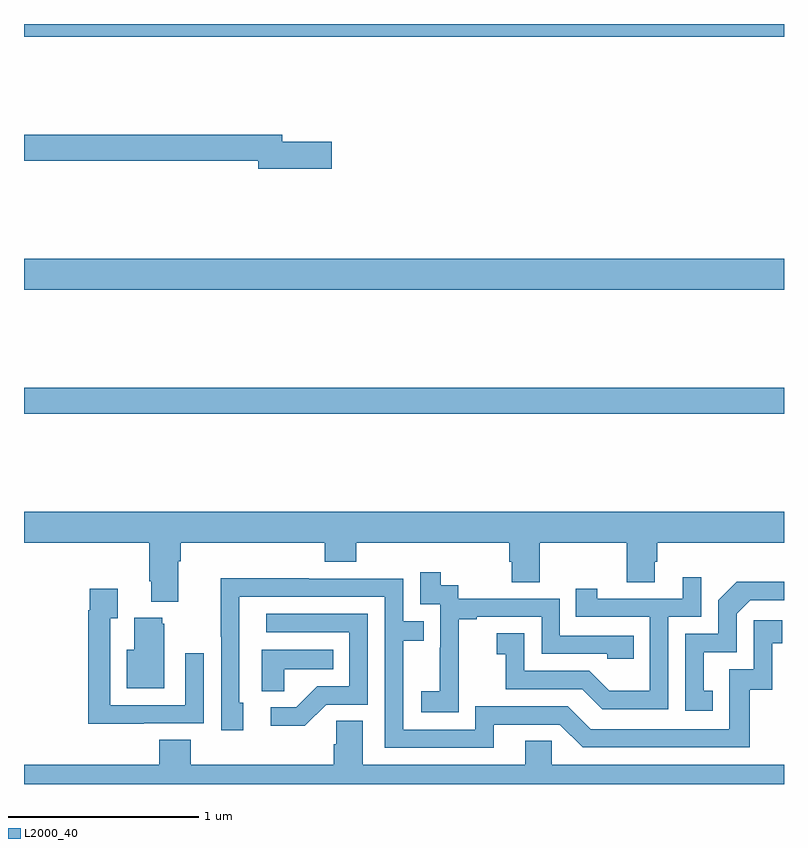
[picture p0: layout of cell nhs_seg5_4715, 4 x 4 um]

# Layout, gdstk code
import gdstk
lib = gdstk.Library(unit=1e-6, precision=1e-09)
def R(c, l, rs):  # rectangles x0, y0, x1, y1
    for r in rs: c.add(gdstk.rectangle(r[:2], r[2:], *l))
def P(c, l, *ps):  # polygons
    for p in ps: c.add(gdstk.Polygon(p, *l))
L2000_40 = (2000, 40)

nhs_seg5_4715 = lib.new_cell('nhs_seg5_4715')
R(nhs_seg5_4715, L2000_40, [(387,882.748,391,882.884), (387,883.4,391,883.564), (387,884.732,391,884.799)])
P(nhs_seg5_4715, L2000_40, [(388.621,884.18),(388.36,884.18),(388.36,884.216),(387,884.216),(387,884.08),(388.232,884.08),(388.232,884.038),(388.621,884.038)],
  [(387.811,881.972),(387.824,881.972),(387.824,882.068),(388.583,882.068),(388.583,881.969),(388.748,881.969),(388.748,882.068),(389.555,882.068),(389.555,881.97),(389.567,881.97),(389.567,881.86),(389.715,881.86),(389.715,882.068),(390.172,882.068),(390.172,881.86),(390.319,881.86),(390.319,881.97),(390.332,881.97),(390.332,882.068),(391,882.068),(391,882.232),(387,882.232),(387,882.068),(387.659,882.068),(387.659,881.866),(387.671,881.866),(387.671,881.759),(387.811,881.759)],
  [(389.289,881.383),(389.288,881.383),(389.288,881.667),(389.383,881.667),(389.383,881.679),(389.724,881.679),(389.724,881.484),(390.069,881.484),(390.069,881.457),(390.209,881.457),(390.209,881.58),(389.82,881.58),(389.82,881.775),(389.286,881.775),(389.286,881.844),(389.194,881.844),(389.194,881.914),(389.085,881.914),(389.085,881.745),(389.19,881.745),(389.19,881.516),(389.189,881.516),(389.189,881.287),(389.091,881.287),(389.091,881.177),(389.289,881.177)],
  [(390.39,881.679),(390.564,881.679),(390.564,881.887),(390.467,881.887),(390.467,881.775),(390.016,881.775),(390.016,881.827),(389.905,881.827),(389.905,881.679),(390.294,881.679),(390.294,881.29),(390.08,881.29),(389.976,881.394),(389.634,881.394),(389.634,881.593),(389.487,881.593),(389.487,881.483),(389.536,881.483),(389.536,881.298),(389.939,881.298),(390.044,881.193),(390.39,881.193)],
  [(389.473,881.112),(389.82,881.112),(389.94,880.992),(390.82,880.992),(390.82,881.295),(390.938,881.295),(390.938,881.541),(390.991,881.541),(390.991,881.662),(390.84,881.662),(390.84,881.403),(390.711,881.403),(390.711,881.088),(389.982,881.088),(389.862,881.208),(389.376,881.208),(389.376,881.085),(388.995,881.085),(388.995,881.554),(389.105,881.554),(389.105,881.655),(388.995,881.655),(388.995,881.88),(388.499,881.88),(388.499,881.882),(388.036,881.882),(388.036,881.575),(388.038,881.575),(388.038,881.082),(388.153,881.082),(388.153,881.226),(388.134,881.226),(388.134,881.784),(388.899,881.784),(388.899,880.989),(389.473,880.989)],
  [(390.626,881.289),(390.577,881.289),(390.577,881.493),(390.75,881.493),(390.75,881.694),(390.822,881.766),(391,881.766),(391,881.864),(390.752,881.864),(390.654,881.766),(390.654,881.589),(390.48,881.589),(390.48,881.184),(390.626,881.184)],
  [(387.629,881.118),(387.945,881.118),(387.945,881.488),(387.849,881.488),(387.849,881.214),(387.453,881.214),(387.453,881.671),(387.493,881.671),(387.493,881.827),(387.345,881.827),(387.345,881.714),(387.337,881.714),(387.337,881.117),(387.629,881.117)],
  [(388.59,881.217),(388.809,881.217),(388.809,881.694),(388.275,881.694),(388.275,881.598),(388.713,881.598),(388.713,881.313),(388.544,881.313),(388.433,881.202),(388.299,881.202),(388.299,881.105),(388.477,881.105)],
  [(387.739,881.643),(387.728,881.643),(387.728,881.674),(387.581,881.674),(387.581,881.506),(387.542,881.506),(387.542,881.303),(387.739,881.303)],
  [(388.371,881.402),(388.628,881.402),(388.628,881.506),(388.25,881.506),(388.25,881.287),(388.371,881.287)],
  [(391,880.9),(389.778,880.9),(389.778,881.027),(389.639,881.027),(389.639,880.9),(388.783,880.9),(388.783,881.132),(388.644,881.132),(388.644,881.009),(388.631,881.009),(388.631,880.9),(387.878,880.9),(387.878,881.033),(387.713,881.033),(387.713,880.9),(387,880.9),(387,880.799),(391,880.799)])

lib.write_gds('nhs_seg5_4715.gds')
